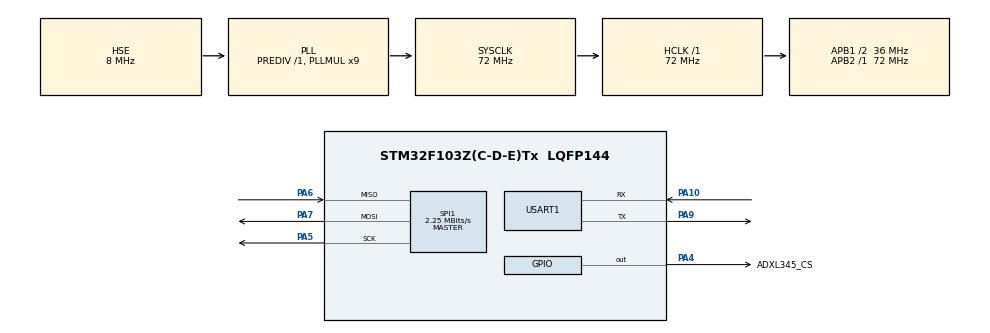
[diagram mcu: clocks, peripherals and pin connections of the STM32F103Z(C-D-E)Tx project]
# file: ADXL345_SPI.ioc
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Dma.Request0=USART1_TX
Dma.USART1_TX.0.Direction=DMA_MEMORY_TO_PERIPH
Dma.USART1_TX.0.Instance=DMA1_Channel4
Dma.USART1_TX.0.MemDataAlignment=DMA_MDATAALIGN_BYTE
Dma.USART1_TX.0.MemInc=DMA_MINC_ENABLE
Dma.USART1_TX.0.Mode=DMA_NORMAL
Dma.USART1_TX.0.PeriphDataAlignment=DMA_PDATAALIGN_BYTE
Dma.USART1_TX.0.PeriphInc=DMA_PINC_DISABLE
Dma.USART1_TX.0.Priority=DMA_PRIORITY_MEDIUM
Mcu.Family=STM32F1
Mcu.Name=STM32F103Z(C-D-E)Tx
Mcu.Package=LQFP144
NVIC.DMA1_Channel4_IRQn=true\:4\:0\:true\:false\:true\:false\:true\:true
NVIC.PriorityGroup=NVIC_PRIORITYGROUP_4
NVIC.TIM2_IRQn=true\:3\:0\:true\:false\:true\:true\:true\:true
NVIC.USART1_IRQn=true\:5\:0\:true\:false\:true\:true\:true\:true
OSC_IN.Mode=HSE-External-Oscillator
OSC_IN.Signal=RCC_OSC_IN
OSC_OUT.Mode=HSE-External-Oscillator
OSC_OUT.Signal=RCC_OSC_OUT
PA10.Mode=Asynchronous
PA10.Signal=USART1_RX
PA13.Mode=Serial_Wire
PA13.Signal=SYS_JTMS-SWDIO
PA14.Mode=Serial_Wire
PA14.Signal=SYS_JTCK-SWCLK
PA4.GPIO_Label=ADXL345_CS
PA4.GPIO_Speed=GPIO_SPEED_FREQ_LOW
PA4.PinState=GPIO_PIN_SET
PA4.Signal=GPIO_Output
PA5.Mode=Full_Duplex_Master
PA5.Signal=SPI1_SCK
PA6.Mode=Full_Duplex_Master
PA6.Signal=SPI1_MISO
PA7.Mode=Full_Duplex_Master
PA7.Signal=SPI1_MOSI
PA9.Mode=Asynchronous
PA9.Signal=USART1_TX
ProjectManager.HeapSize=0x200
ProjectManager.StackSize=0x400
ProjectManager.TargetToolchain=MDK-ARM V5.32
RCC.AHBFreq_Value=72000000
RCC.APB1CLKDivider=RCC_HCLK_DIV2
RCC.APB1Freq_Value=36000000
RCC.APB1TimFreq_Value=72000000
RCC.APB2Freq_Value=72000000
RCC.APB2TimFreq_Value=72000000
RCC.HCLKFreq_Value=72000000
RCC.PLLMUL=RCC_PLL_MUL9
RCC.PLLSourceVirtual=RCC_PLLSOURCE_HSE
RCC.SYSCLKFreq_VALUE=72000000
RCC.SYSCLKSource=RCC_SYSCLKSOURCE_PLLCLK
RCC.USBFreq_Value=72000000
SPI1.BaudRatePrescaler=SPI_BAUDRATEPRESCALER_32
SPI1.CLKPhase=SPI_PHASE_2EDGE
SPI1.CLKPolarity=SPI_POLARITY_HIGH
SPI1.CalculateBaudRate=2.25 MBits/s
SPI1.Direction=SPI_DIRECTION_2LINES
SPI1.Mode=SPI_MODE_MASTER
SPI1.VirtualType=VM_MASTER
TIM2.AutoReloadPreload=TIM_AUTORELOAD_PRELOAD_ENABLE
TIM2.Period=1000-1
TIM2.Prescaler=72-1
USART1.VirtualMode=VM_ASYNC
VP_TIM2_VS_ClockSourceINT.Mode=Internal
board=custom

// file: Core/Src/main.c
/* USER CODE BEGIN Header */
/**
  ******************************************************************************
  * @file           : main.c
  * @brief          : Main program body
  ******************************************************************************
  * @attention
  *
  * Copyright (c) 2025 STMicroelectronics.
  * All rights reserved.
  *
  * This software is licensed under terms that can be found in the LICENSE file
  * in the root directory of this software component.
  * If no LICENSE file comes with this software, it is provided AS-IS.
  *
  ******************************************************************************
  */
/* USER CODE END Header */
#include "main.h"
#include "dma.h"
#include "spi.h"
#include "tim.h"
#include "usart.h"
#include "gpio.h"

/* USER CODE BEGIN Includes */
#include "adxl345.h"
#include <stdio.h>
#include "string.h"
#include <math.h>
#include "vibration_monitor.h"
/* USER CODE END Includes */

/* USER CODE BEGIN PV */
// ADXL345 device handle
ADXL345_HandleTypeDef adxl345;

// Data structures
ADXL345_Acceleration_t acceleration;
ADXL345_Velocity_t velocity;
ADXL345_Angles_t angles;

VIBMON_Handle_t vibmon;
VIBMON_Stats_t vibStats;
// Timer interrupt flag
volatile uint8_t timer2_flag = 0;

// Performance monitoring
static uint32_t sample_count = 0;
static uint32_t error_count = 0;
static uint32_t last_print_time = 0;
static uint32_t data_ready_count = 0;

// DMA buffers
#define UART_BUFFER_SIZE 1024
static char uart_tx_buffer1[UART_BUFFER_SIZE];
static char uart_tx_buffer2[UART_BUFFER_SIZE];
static char *current_tx_buffer = uart_tx_buffer1;
static char *next_tx_buffer = uart_tx_buffer2;

// DMA status flags
volatile uint8_t uart_tx_busy = 0;
volatile uint8_t uart_data_pending = 0;
static char msg[1024];
/* USER CODE END PV */

void SystemClock_Config(void);

/* USER CODE BEGIN 0 */

/**
  * @brief Timer2 update interrupt callback
  */
void HAL_TIM_PeriodElapsedCallback(TIM_HandleTypeDef *htim)
{
    if (htim->Instance == TIM2) {
        timer2_flag = 1;  // Set flag for main loop
    }
}

// UART DMA complete callback
void HAL_UART_TxCpltCallback(UART_HandleTypeDef *huart)
{
    if (huart->Instance == USART1) {
        uart_tx_busy = 0;

        if (uart_data_pending) {
            uart_data_pending = 0;

            // Swap buffers
            char *temp = current_tx_buffer;
            current_tx_buffer = next_tx_buffer;
            next_tx_buffer = temp;

            // Start DMA transfer
            uart_tx_busy = 1;
            HAL_UART_Transmit_DMA(&huart1, (uint8_t*)next_tx_buffer, strlen(next_tx_buffer));
        }
    }
}

// Async UART send function
uint8_t UART_SendAsync(const char *data, uint16_t len)
{
    if (len >= UART_BUFFER_SIZE) return 1;

    if (!uart_tx_busy) {
        // DMA idle, send directly
        memcpy(current_tx_buffer, data, len);
        current_tx_buffer[len] = '\0';
        uart_tx_busy = 1;
        HAL_UART_Transmit_DMA(&huart1, (uint8_t*)current_tx_buffer, len);
    } else {
        // DMA busy, queue to next buffer
        if (uart_data_pending) return 1;
        memcpy(next_tx_buffer, data, len);
        next_tx_buffer[len] = '\0';
        uart_data_pending = 1;
    }

    return 0;
}

/* USER CODE END 0 */

int main(void)
{

  /* MCU Configuration--------------------------------------------------------*/

  /* Reset of all peripherals, Initializes the Flash interface and the Systick. */
  HAL_Init();

  /* Configure the system clock */
  SystemClock_Config();

  /* Initialize all configured peripherals */
  MX_GPIO_Init();
  MX_DMA_Init();
  MX_SPI1_Init();
  MX_USART1_UART_Init();
  MX_TIM2_Init();
  /* USER CODE BEGIN 2 */

    //char msg[1024];
    ADXL_StatusTypeDef status;

    // Send startup message via UART
    HAL_UART_Transmit(&huart1, (uint8_t*)"\r\n======================================\r\n", 40, 100);
    HAL_UART_Transmit(&huart1, (uint8_t*)"ADXL345 1000Hz Sampling Test\r\n", 29, 100);
    HAL_UART_Transmit(&huart1, (uint8_t*)"Timer2-based interrupt sampling\r\n", 33, 100);
    HAL_UART_Transmit(&huart1, (uint8_t*)"======================================\r\n\r\n", 42, 100);

    HAL_Delay(100);

    // Initialize ADXL345 sensor (SPI1, CS pin on GPIOA Pin 4)
    status = ADXL345_Init(&adxl345, &hspi1, GPIOA, GPIO_PIN_4);

		//VIBMON_Init(&vibmon, 1000);  // 1s window @ 1000Hz
		VIBMON_Init(&vibmon, 1000, 1000.0f);

    // Check if initialization was successful
    if (status != ADXL_OK) {
        // If init failed, print error and stop
        snprintf(msg, sizeof(msg), "[ERROR] ADXL345 Init Failed: %d\r\n", status);
        HAL_UART_Transmit(&huart1, (uint8_t*)msg, strlen(msg), 100);

        while(1) {
            HAL_Delay(1000);  // Infinite loop - system halted
        }
    } else {
        // Init successful
        HAL_UART_Transmit(&huart1, (uint8_t*)"[OK] ADXL345 Init Successful\r\n", 31, 100);
    }

    // Apply custom configuration
    HAL_UART_Transmit(&huart1, (uint8_t*)"Applying configuration...\r\n", 28, 100);

    if (status == ADXL_OK) {
        HAL_UART_Transmit(&huart1, (uint8_t*)"[OK] Configuration applied\r\n", 30, 100);

        // Run auto-calibration with 50 samples
        HAL_UART_Transmit(&huart1, (uint8_t*)"Running auto-calibration...\r\n", 30, 100);
        //status = ADXL345_AutoCalibrate(&adxl345, 50);
        if (status == ADXL_OK) {
            HAL_UART_Transmit(&huart1, (uint8_t*)"[OK] Auto-calibration complete\r\n", 33, 100);
        } else {
            snprintf(msg, sizeof(msg), "[WARN] Calibration failed: %d\r\n", status);
            HAL_UART_Transmit(&huart1, (uint8_t*)msg, strlen(msg), 100);
        }
    } else {
        // Configuration failed
        snprintf(msg, sizeof(msg), "[ERROR] Configuration failed: %d\r\n", status);
        HAL_UART_Transmit(&huart1, (uint8_t*)msg, strlen(msg), 100);
    }

    // Configure for 1000Hz sampling
    HAL_UART_Transmit(&huart1, (uint8_t*)"Setting up 1000Hz sampling...\r\n", 32, 100);
    ADXL345_SetSampleInterval(&adxl345, 1);  // 1ms = 1000Hz

    // Enable velocity tracking
    HAL_UART_Transmit(&huart1, (uint8_t*)"Enabling velocity tracking...\r\n", 32, 100);
    ADXL345_EnableVelocityTracking(&adxl345, 1);

    // Start Timer2 for 1000Hz sampling
    HAL_UART_Transmit(&huart1, (uint8_t*)"Starting Timer2...\r\n", 21, 100);
    HAL_TIM_Base_Start_IT(&htim2);

    // Reset system time tracking
    last_print_time = HAL_GetTick();

    HAL_UART_Transmit(&huart1, (uint8_t*)"\r\nSystem Ready! Starting 1000Hz sampling...\r\n", 45, 100);
    HAL_UART_Transmit(&huart1, (uint8_t*)"Data will be printed every 1000ms.\r\n\r\n", 39, 100);

  /* USER CODE END 2 */

  /* Infinite loop */
  while (1)
  {

    /* USER CODE BEGIN 3 */

        // ====================================================================
        // NEW: Timer-based sampling approach (1000Hz)
        // ====================================================================

        // Check if timer interrupt occurred
        if (timer2_flag) {
            timer2_flag = 0;
            sample_count++;

            // Perform timed sample (reads acceleration and updates velocity)
            status = ADXL345_TimedSample(&adxl345);
            if (status != ADXL_OK) {
                error_count++;
            }
        }

				// Check if new data is available from the ADXL345
				if (ADXL345_IsDataReady(&adxl345)) {
						data_ready_count++;

						/* 1. raw accel ? vibration */
						VIBMON_Update(&vibmon, &adxl345.lastRawAccel);

						/* 2. linear accel ? angle / velocity */
						ADXL345_GetLastAcceleration(&adxl345, &acceleration);

						// Calculate angles from acceleration
						ADXL345_CalculateAnglesFromAccel(&acceleration, &angles);

						// Get velocity if tracking is enabled
						ADXL345_GetVelocity(&adxl345, &velocity);
				}

				uint32_t current_time = HAL_GetTick();
				if ((current_time - last_print_time) >= 1000) {
						last_print_time = current_time;

						float actual_rate = sample_count;
						float mag = sqrtf(acceleration.x * acceleration.x +
														 acceleration.y * acceleration.y +
														 acceleration.z * acceleration.z);

						// ?????? mm/s(??1000)
						float speed_mm = sqrtf(velocity.x * velocity.x +
																	velocity.y * velocity.y +
																	velocity.z * velocity.z) * 1000.0f;

						float vx_mm = velocity.x * 1000.0f;
						float vy_mm = velocity.y * 1000.0f;
						float vz_mm = velocity.z * 1000.0f;

						VIBMON_Stats_t vib_stats;
						VIBMON_GetStats(&vibmon, &vib_stats);

						int len = snprintf(msg, sizeof(msg),
										"\r\n=== System Status ===\r\n"
										"Rate: %.1f Hz | Ready: %u | Errors: %u\r\n"
										"\r\n--- Acceleration (g) ---\r\n"
										"X:%7.3f | Y:%7.3f | Z:%7.3f | Mag:%.3f\r\n"
										"\r\n--- Orientation (deg) ---\r\n"
										"Roll:%6.2f | Pitch:%6.2f\r\n"
										"\r\n--- Velocity (mm/s) ---\r\n"
										"X:%7.1f | Y:%7.1f | Z:%7.1f | Speed:%.1f\r\n"
										"Bias X:%.4f Y:%.4f Z:%.4f\r\n"
										"\r\n--- ZUPT ---\r\n"
										"Static:%s | Buffer:%s | Candidate:%s\r\n"
										"Window:%u | MinDur:%u ms\r\n"
										"\r\n--- Vibration ---\r\n"
										"RMS:%.4f g | Peak:%.4f g | Samples:%u\r\n"
										"Freq:%.2f Hz (%.0f RPM)\r\n"  // ????
										"===============================\r\n",
										actual_rate, (unsigned int)data_ready_count, (unsigned int)error_count,
										acceleration.x, acceleration.y, acceleration.z, mag,
										angles.roll, angles.pitch,
										vx_mm, vy_mm, vz_mm, speed_mm,
										adxl345.accelBias[0], adxl345.accelBias[1], adxl345.accelBias[2],
										adxl345.velState.isStatic ? "YES" : "NO",
										adxl345.velState.bufferFilled ? "OK" : "...",
										adxl345.velState.staticCandidate ? "YES" : "NO",
										(unsigned int)adxl345.zuptConfig.windowSize,
										(unsigned int)adxl345.zuptConfig.minStaticDuration,
										vib_stats.rms, vib_stats.peak, (unsigned int)vib_stats.sampleCount,
										vib_stats.frequency, vib_stats.frequency * 60.0f  // ????
						);

						UART_SendAsync(msg, len);

						sample_count = 0;
						error_count = 0;
						data_ready_count = 0;
									}}
  /* USER CODE END 3 */
}

void SystemClock_Config(void)
{
  RCC_OscInitTypeDef RCC_OscInitStruct = {0};
  RCC_ClkInitTypeDef RCC_ClkInitStruct = {0};

  /** Initializes the RCC Oscillators according to the specified parameters
  * in the RCC_OscInitTypeDef structure.
  */
  RCC_OscInitStruct.OscillatorType = RCC_OSCILLATORTYPE_HSE;
  RCC_OscInitStruct.HSEState = RCC_HSE_ON;
  RCC_OscInitStruct.HSEPredivValue = RCC_HSE_PREDIV_DIV1;
  RCC_OscInitStruct.HSIState = RCC_HSI_ON;
  RCC_OscInitStruct.PLL.PLLState = RCC_PLL_ON;
  RCC_OscInitStruct.PLL.PLLSource = RCC_PLLSOURCE_HSE;
  RCC_OscInitStruct.PLL.PLLMUL = RCC_PLL_MUL9;
  if (HAL_RCC_OscConfig(&RCC_OscInitStruct) != HAL_OK)
  {
    Error_Handler();
  }

  /** Initializes the CPU, AHB and APB buses clocks
  */
  RCC_ClkInitStruct.ClockType = RCC_CLOCKTYPE_HCLK|RCC_CLOCKTYPE_SYSCLK
                              |RCC_CLOCKTYPE_PCLK1|RCC_CLOCKTYPE_PCLK2;
  RCC_ClkInitStruct.SYSCLKSource = RCC_SYSCLKSOURCE_PLLCLK;
  RCC_ClkInitStruct.AHBCLKDivider = RCC_SYSCLK_DIV1;
  RCC_ClkInitStruct.APB1CLKDivider = RCC_HCLK_DIV2;
  RCC_ClkInitStruct.APB2CLKDivider = RCC_HCLK_DIV1;

  if (HAL_RCC_ClockConfig(&RCC_ClkInitStruct, FLASH_LATENCY_2) != HAL_OK)
  {
    Error_Handler();
  }
}

void Error_Handler(void)
{
  __disable_irq();
  while (1)
  {
  }
}
